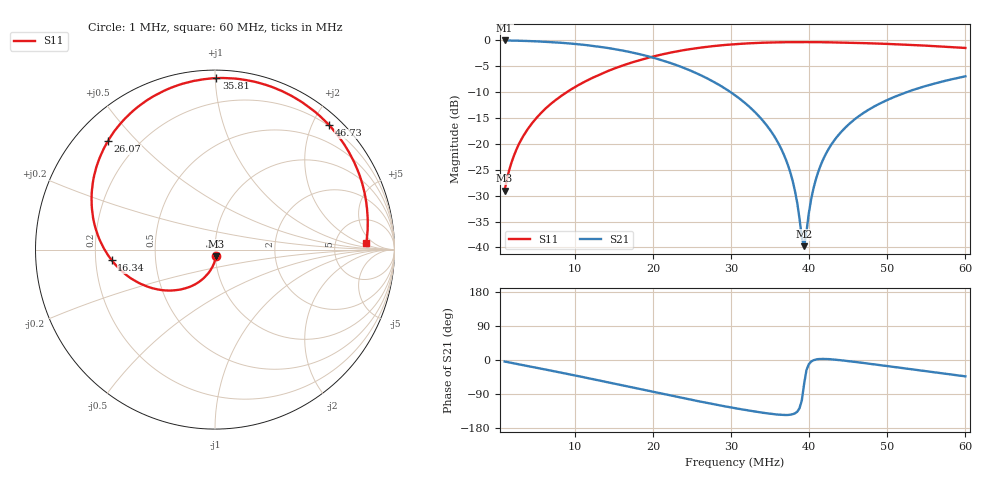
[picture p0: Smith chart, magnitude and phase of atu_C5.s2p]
! S11/S21 from S-A-A-2 VNA
! Written 2026-11-14 07:44:53 by the saav2 MCP server
! S12 and S22 were not measured (1.5-port VNA) and are written as 0
# HZ S RI R 50
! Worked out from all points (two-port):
!   201 points, 1 MHz to 60 MHz, reference 50 ohm
!   highest |S21| = -0.03 dB at 1 MHz (marker M1); lowest = -39.8 dB at 39.35 MHz (marker M2)
!   |S21| within 3 dB of the highest: start of sweep to 19.22 MHz
!   lowest |S11| = -29.0 dB at 1 MHz (marker M3), VSWR 1.07, Z = 50.5 - j3.52 ohm
!   |S11| at or under -10 dB: start of sweep to 8.973 MHz
!   S12 and S22 are empty: the file has one direction only
!   S11 on the Smith chart (normalised r, x): 1 MHz: 1.01, -0.07; 16.34 MHz: 0.27, -0.05; 26.07 MHz: 0.10, +0.41; 35.81 MHz: 0.05, +1.01; 46.73 MHz: 0.19, +2.26; 60 MHz: 11, +3
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1000000  0.00604 -0.0348  0.9939 -0.0702  0 0  0 0
2180000  -0.00531 -0.0762  0.9812 -0.1515  0 0  0 0
3950000  -0.0384 -0.1331  0.9465 -0.2701  0 0  0 0
6900000  -0.1317 -0.2038  0.8493 -0.45  0 0  0 0
1.103e7  -0.3211 -0.2216  0.6395 -0.6414  0 0  0 0
1.634e7  -0.5753 -0.0595  0.2971 -0.732  0 0  0 0
2.0765e7  -0.6848 0.2202  0.032 -0.6533  0 0  0 0
2.6075e7  -0.5973 0.6035  -0.1563 -0.4343  0 0  0 0
3.05e7  -0.3616 0.8429  -0.1779 -0.2349  0 0  0 0
3.345e7  -0.1601 0.9295  -0.1387 -0.1281  0 0  0 0
3.581e7  0.00766 0.9547  -0.088 -0.0646  0 0  0 0
3.7875e7  0.1507 0.9481  -0.0353 -0.0266  0 0  0 0
3.8465e7  0.1902 0.9415  -0.0196 -0.0186  0 0  0 0
3.9055e7  0.2289 0.9334  -0.00356 -0.012  0 0  0 0
3.935e7  0.2477 0.9282  0.00466 -0.00917  0 0  0 0
4.053e7  0.3217 0.9046  0.0367 -0.000541  0 0  0 0
4.1415e7  0.3746 0.8827  0.0606 0.00284  0 0  0 0
4.289e7  0.4571 0.8385  0.0998 0.00297  0 0  0 0
4.6725e7  0.6362 0.6933  0.1921 -0.0245  0 0  0 0
5.0265e7  0.7534 0.5297  0.2593 -0.078  0 0  0 0
5.4985e7  0.8382 0.2906  0.3157 -0.1793  0 0  0 0
6e7  0.8428 0.0341  0.3273 -0.3071  0 0  0 0
